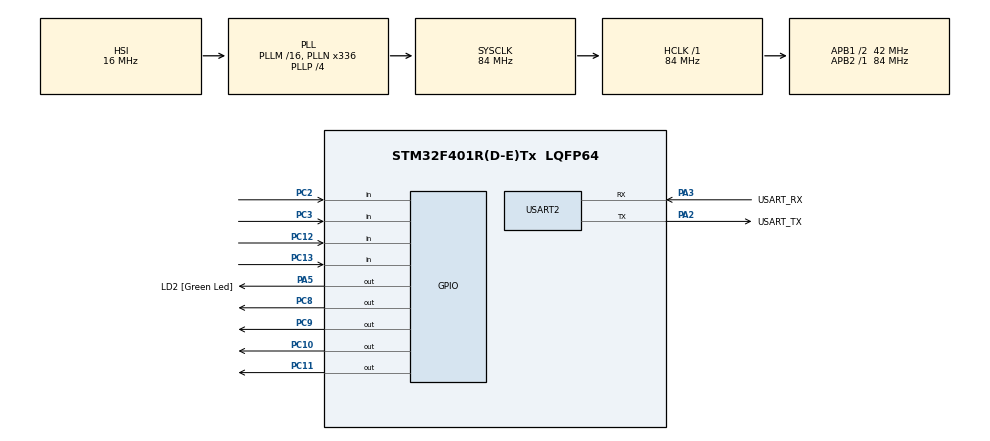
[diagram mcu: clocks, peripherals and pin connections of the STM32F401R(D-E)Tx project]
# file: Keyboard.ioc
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Dma.Request0=USART2_TX
Dma.USART2_TX.0.Direction=DMA_MEMORY_TO_PERIPH
Dma.USART2_TX.0.FIFOMode=DMA_FIFOMODE_DISABLE
Dma.USART2_TX.0.Instance=DMA1_Stream6
Dma.USART2_TX.0.MemDataAlignment=DMA_MDATAALIGN_BYTE
Dma.USART2_TX.0.MemInc=DMA_MINC_ENABLE
Dma.USART2_TX.0.Mode=DMA_NORMAL
Dma.USART2_TX.0.PeriphDataAlignment=DMA_PDATAALIGN_BYTE
Dma.USART2_TX.0.PeriphInc=DMA_PINC_DISABLE
Dma.USART2_TX.0.Priority=DMA_PRIORITY_LOW
Mcu.Family=STM32F4
Mcu.Name=STM32F401R(D-E)Tx
Mcu.Package=LQFP64
NVIC.DMA1_Stream6_IRQn=true\:0\:0\:false\:false\:true\:false\:true\:true
NVIC.PriorityGroup=NVIC_PRIORITYGROUP_0
NVIC.TIM2_IRQn=true\:0\:0\:false\:false\:true\:true\:true\:true
NVIC.TIM3_IRQn=true\:0\:0\:false\:false\:true\:true\:true\:true
NVIC.USART2_IRQn=true\:0\:0\:false\:false\:true\:true\:true\:true
PA13.GPIO_Label=TMS
PA13.Mode=Serial_Wire
PA13.Signal=SYS_JTMS-SWDIO
PA14.GPIO_Label=TCK
PA14.Mode=Serial_Wire
PA14.Signal=SYS_JTCK-SWCLK
PA2.GPIO_Label=USART_TX
PA2.GPIO_Mode=GPIO_MODE_AF_PP
PA2.GPIO_PuPd=GPIO_NOPULL
PA2.GPIO_Speed=GPIO_SPEED_FREQ_LOW
PA2.Mode=Asynchronous
PA2.Signal=USART2_TX
PA3.GPIO_Label=USART_RX
PA3.GPIO_Mode=GPIO_MODE_AF_PP
PA3.GPIO_PuPd=GPIO_NOPULL
PA3.GPIO_Speed=GPIO_SPEED_FREQ_LOW
PA3.Mode=Asynchronous
PA3.Signal=USART2_RX
PA5.GPIO_Label=LD2 [Green Led]
PA5.GPIO_Mode=GPIO_MODE_OUTPUT_PP
PA5.GPIO_PuPd=GPIO_NOPULL
PA5.GPIO_Speed=GPIO_SPEED_FREQ_LOW
PA5.Signal=GPIO_Output
PB3.GPIO_Label=SWO
PB3.Signal=SYS_JTDO-SWO
PC10.Signal=GPIO_Output
PC11.Signal=GPIO_Output
PC12.Signal=GPIO_Input
PC13-ANTI_TAMP.Signal=GPIO_Input
PC14-OSC32_IN.Mode=LSE-External-Oscillator
PC14-OSC32_IN.Signal=RCC_OSC32_IN
PC15-OSC32_OUT.Mode=LSE-External-Oscillator
PC15-OSC32_OUT.Signal=RCC_OSC32_OUT
PC2.Signal=GPIO_Input
PC3.Signal=GPIO_Input
PC8.Signal=GPIO_Output
PC9.Signal=GPIO_Output
PH0\ -\ OSC_IN.Mode=HSE-External-Clock-Source
PH0\ -\ OSC_IN.Signal=RCC_OSC_IN
PH1\ -\ OSC_OUT.Mode=HSE-External-Clock-Source
PH1\ -\ OSC_OUT.Signal=RCC_OSC_OUT
ProjectManager.HeapSize=0x200
ProjectManager.StackSize=0x400
ProjectManager.TargetToolchain=STM32CubeIDE
RCC.48MHZClocksFreq_Value=48000000
RCC.AHBFreq_Value=84000000
RCC.APB1CLKDivider=RCC_HCLK_DIV2
RCC.APB1Freq_Value=42000000
RCC.APB1TimFreq_Value=84000000
RCC.APB2Freq_Value=84000000
RCC.APB2TimFreq_Value=84000000
RCC.CortexFreq_Value=84000000
RCC.HCLKFreq_Value=84000000
RCC.HSE_VALUE=8000000
RCC.HSI_VALUE=16000000
RCC.PLLN=336
RCC.PLLP=RCC_PLLP_DIV4
RCC.PLLQ=7
RCC.SYSCLKFreq_VALUE=84000000
RCC.SYSCLKSource=RCC_SYSCLKSOURCE_PLLCLK
RCC.VCOOutputFreq_Value=336000000
TIM2.Period=(TEMPO*10)-1
TIM2.Prescaler=8400-1
TIM3.Period=(TEMPO2*10)-1
TIM3.Prescaler=8400-1
USART2.VirtualMode=VM_ASYNC
VP_TIM2_VS_ClockSourceINT.Mode=Internal
VP_TIM3_VS_ClockSourceINT.Mode=Internal
board=NUCLEO-F401RE

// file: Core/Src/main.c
/* USER CODE BEGIN Header */
/**
  ******************************************************************************
  * @file           : main.c
  * @brief          : Main program body
  ******************************************************************************
  * @attention
  *
  * Copyright (c) 2024 STMicroelectronics.
  * All rights reserved.
  *
  * This software is licensed under terms that can be found in the LICENSE file
  * in the root directory of this software component.
  * If no LICENSE file comes with this software, it is provided AS-IS.
  *
  ******************************************************************************
  */
/* USER CODE END Header */
#include "main.h"

/* USER CODE BEGIN PD */
#define TEMPO 4
#define TEMPO2 20

/* USER CODE END PD */

TIM_HandleTypeDef htim2;
TIM_HandleTypeDef htim3;

UART_HandleTypeDef huart2;
DMA_HandleTypeDef hdma_usart2_tx;

void SystemClock_Config(void);
static void MX_GPIO_Init(void);
static void MX_DMA_Init(void);
static void MX_USART2_UART_Init(void);
static void MX_TIM2_Init(void);
static void MX_TIM3_Init(void);
/* USER CODE BEGIN PFP */
typedef struct {
	GPIO_TypeDef *port;
	uint16_t pin;
} Pin_Struct;

const Pin_Struct ROWS[] = {
    {GPIOC, GPIO_PIN_3},  // R0
    {GPIOC, GPIO_PIN_2},  // R1
    {GPIOC, GPIO_PIN_13}, // R2
    {GPIOC, GPIO_PIN_12}  // R3
};

const Pin_Struct COLS[] = {
    {GPIOC, GPIO_PIN_11},  // C0
    {GPIOC, GPIO_PIN_10},  // C1
    {GPIOC, GPIO_PIN_9}, // C2
    {GPIOC, GPIO_PIN_8}  // C3
};

char buttons[16] = "FEDCBA9876543210"; // Keyboard chars to be indexed by 'c' and printed
int scan = 0; // Current scanning column (0 to 3)
int c = 0, c_old = -1; // New and previous indexes in 'buttons[]'
int pressed_flag = 0; // Whether a button has been pressed and not released yet
int row = 0, col = 0; // Row and Column to be scanned at debouncing timeout

char string[3]; // UART buffer
int string_length = 0; // UART buffer length
/* USER CODE END PFP */

/* USER CODE BEGIN 0 */

void HAL_TIM_PeriodElapsedCallback (TIM_HandleTypeDef *htim) {

	if (htim == &htim2) { // Timeout to scan next keyboard's column

		if (pressed_flag == 0) { // If no button has been presssed (and not released yet)

			for (int i = 0; i < 4; i++) { // Set the column indexed by 'scan' to 1, all others to 0
				if (i == scan) HAL_GPIO_WritePin(COLS[i].port, COLS[i].pin, GPIO_PIN_SET);
				else HAL_GPIO_WritePin(COLS[i].port, COLS[i].pin, GPIO_PIN_RESET);
			}

			for (int i = 0; i < 4; i++) { // Scan all four rows to check any button pressing
				if (HAL_GPIO_ReadPin(ROWS[i].port, ROWS[i].pin) == GPIO_PIN_RESET) { // RESET <-> button pressed
					pressed_flag = 1; // Block future columns' and rows' writes and reads
					row = i; // Save the index of the row to be scanned at debouncing timeout

					// We now manage the defect of the second row (shifted one column to the left)
					col = scan; // We want to replace 'scan' with 'col', which may be different in case row 2 is pressed
					if (i == 2) {
						col--; // Adjust the column to be scanned, decrementing by 1
						if (scan == 0) col = 3; // Extreme case in which 'col' would be -1
						HAL_GPIO_WritePin(COLS[scan].port, COLS[scan].pin, GPIO_PIN_RESET); // Turn off scan in 'COLS[scan]'
						HAL_GPIO_WritePin(COLS[col].port, COLS[col].pin, GPIO_PIN_SET); // Turn on scan in 'COLS[col]'
					}

					c = col + (4*i); // Expression to calculate the index in 'buttons[]'

					HAL_TIM_Base_Start_IT(&htim3); // Start the debouncing timer
				}
			}
		}

		scan++; // Increment scanning column
		if (scan == 4) scan = 0; // Reset 'scan' when reaching the last column
	}

	else if (htim == &htim3) { // Timeout to check persistence after debouncing
		if (HAL_GPIO_ReadPin(ROWS[row].port, ROWS[row].pin) == GPIO_PIN_RESET) { // Re-read the button pressing
			if (c != c_old) { // If new 'c' differs from old one, to avoid repetitions in printing
				string_length = snprintf(string, sizeof(string), "%c\n", buttons[c]); // Parse buffer for UART
				HAL_UART_Transmit_DMA(&huart2, (uint8_t*)string, string_length); // Send buffer via UART
				c_old = c; // Update old value of 'c'
			}
		}
		else { // Button released either before or after timeout
			HAL_TIM_Base_Stop_IT(&htim3); // Stop timeout callbacks
			c_old = -1; // Reset to a value which 'c' will never hold
			pressed_flag = 0; // Allow for future writes on columns, and reads on rows
		}
	}
}
/* USER CODE END 0 */

int main(void)
{

  /* MCU Configuration--------------------------------------------------------*/

  /* Reset of all peripherals, Initializes the Flash interface and the Systick. */
  HAL_Init();

  /* Configure the system clock */
  SystemClock_Config();

  /* Initialize all configured peripherals */
  MX_GPIO_Init();
  MX_DMA_Init();
  MX_USART2_UART_Init();
  MX_TIM2_Init();
  MX_TIM3_Init();
  /* USER CODE BEGIN 2 */
  HAL_TIM_Base_Start_IT(&htim2);
  /* USER CODE END 2 */

  /* Infinite loop */
  while (1)
  {

  }
}

void SystemClock_Config(void)
{
  RCC_OscInitTypeDef RCC_OscInitStruct = {0};
  RCC_ClkInitTypeDef RCC_ClkInitStruct = {0};

  /** Configure the main internal regulator output voltage
  */
  __HAL_RCC_PWR_CLK_ENABLE();
  __HAL_PWR_VOLTAGESCALING_CONFIG(PWR_REGULATOR_VOLTAGE_SCALE2);

  /** Initializes the RCC Oscillators according to the specified parameters
  * in the RCC_OscInitTypeDef structure.
  */
  RCC_OscInitStruct.OscillatorType = RCC_OSCILLATORTYPE_HSI;
  RCC_OscInitStruct.HSIState = RCC_HSI_ON;
  RCC_OscInitStruct.HSICalibrationValue = RCC_HSICALIBRATION_DEFAULT;
  RCC_OscInitStruct.PLL.PLLState = RCC_PLL_ON;
  RCC_OscInitStruct.PLL.PLLSource = RCC_PLLSOURCE_HSI;
  RCC_OscInitStruct.PLL.PLLM = 16;
  RCC_OscInitStruct.PLL.PLLN = 336;
  RCC_OscInitStruct.PLL.PLLP = RCC_PLLP_DIV4;
  RCC_OscInitStruct.PLL.PLLQ = 7;
  if (HAL_RCC_OscConfig(&RCC_OscInitStruct) != HAL_OK)
  {
    Error_Handler();
  }

  /** Initializes the CPU, AHB and APB buses clocks
  */
  RCC_ClkInitStruct.ClockType = RCC_CLOCKTYPE_HCLK|RCC_CLOCKTYPE_SYSCLK
                              |RCC_CLOCKTYPE_PCLK1|RCC_CLOCKTYPE_PCLK2;
  RCC_ClkInitStruct.SYSCLKSource = RCC_SYSCLKSOURCE_PLLCLK;
  RCC_ClkInitStruct.AHBCLKDivider = RCC_SYSCLK_DIV1;
  RCC_ClkInitStruct.APB1CLKDivider = RCC_HCLK_DIV2;
  RCC_ClkInitStruct.APB2CLKDivider = RCC_HCLK_DIV1;

  if (HAL_RCC_ClockConfig(&RCC_ClkInitStruct, FLASH_LATENCY_2) != HAL_OK)
  {
    Error_Handler();
  }
}

static void MX_TIM2_Init(void)
{

  TIM_ClockConfigTypeDef sClockSourceConfig = {0};
  TIM_MasterConfigTypeDef sMasterConfig = {0};

  htim2.Instance = TIM2;
  htim2.Init.Prescaler = 8400-1;
  htim2.Init.CounterMode = TIM_COUNTERMODE_UP;
  htim2.Init.Period = (TEMPO*10)-1;
  htim2.Init.ClockDivision = TIM_CLOCKDIVISION_DIV1;
  htim2.Init.AutoReloadPreload = TIM_AUTORELOAD_PRELOAD_DISABLE;
  if (HAL_TIM_Base_Init(&htim2) != HAL_OK)
  {
    Error_Handler();
  }
  sClockSourceConfig.ClockSource = TIM_CLOCKSOURCE_INTERNAL;
  if (HAL_TIM_ConfigClockSource(&htim2, &sClockSourceConfig) != HAL_OK)
  {
    Error_Handler();
  }
  sMasterConfig.MasterOutputTrigger = TIM_TRGO_RESET;
  sMasterConfig.MasterSlaveMode = TIM_MASTERSLAVEMODE_DISABLE;
  if (HAL_TIMEx_MasterConfigSynchronization(&htim2, &sMasterConfig) != HAL_OK)
  {
    Error_Handler();
  }

}

static void MX_TIM3_Init(void)
{

  TIM_ClockConfigTypeDef sClockSourceConfig = {0};
  TIM_MasterConfigTypeDef sMasterConfig = {0};

  htim3.Instance = TIM3;
  htim3.Init.Prescaler = 8400-1;
  htim3.Init.CounterMode = TIM_COUNTERMODE_UP;
  htim3.Init.Period = (TEMPO2*10)-1;
  htim3.Init.ClockDivision = TIM_CLOCKDIVISION_DIV1;
  htim3.Init.AutoReloadPreload = TIM_AUTORELOAD_PRELOAD_DISABLE;
  if (HAL_TIM_Base_Init(&htim3) != HAL_OK)
  {
    Error_Handler();
  }
  sClockSourceConfig.ClockSource = TIM_CLOCKSOURCE_INTERNAL;
  if (HAL_TIM_ConfigClockSource(&htim3, &sClockSourceConfig) != HAL_OK)
  {
    Error_Handler();
  }
  sMasterConfig.MasterOutputTrigger = TIM_TRGO_RESET;
  sMasterConfig.MasterSlaveMode = TIM_MASTERSLAVEMODE_DISABLE;
  if (HAL_TIMEx_MasterConfigSynchronization(&htim3, &sMasterConfig) != HAL_OK)
  {
    Error_Handler();
  }

}

static void MX_USART2_UART_Init(void)
{

  huart2.Instance = USART2;
  huart2.Init.BaudRate = 115200;
  huart2.Init.WordLength = UART_WORDLENGTH_8B;
  huart2.Init.StopBits = UART_STOPBITS_1;
  huart2.Init.Parity = UART_PARITY_NONE;
  huart2.Init.Mode = UART_MODE_TX_RX;
  huart2.Init.HwFlowCtl = UART_HWCONTROL_NONE;
  huart2.Init.OverSampling = UART_OVERSAMPLING_16;
  if (HAL_UART_Init(&huart2) != HAL_OK)
  {
    Error_Handler();
  }

}

static void MX_DMA_Init(void)
{

  /* DMA controller clock enable */
  __HAL_RCC_DMA1_CLK_ENABLE();

  /* DMA interrupt init */
  /* DMA1_Stream6_IRQn interrupt configuration */
  HAL_NVIC_SetPriority(DMA1_Stream6_IRQn, 0, 0);
  HAL_NVIC_EnableIRQ(DMA1_Stream6_IRQn);

}

static void MX_GPIO_Init(void)
{
  GPIO_InitTypeDef GPIO_InitStruct = {0};

  /* GPIO Ports Clock Enable */
  __HAL_RCC_GPIOC_CLK_ENABLE();
  __HAL_RCC_GPIOH_CLK_ENABLE();
  __HAL_RCC_GPIOA_CLK_ENABLE();
  __HAL_RCC_GPIOB_CLK_ENABLE();

  /*Configure GPIO pin Output Level */
  HAL_GPIO_WritePin(LD2_GPIO_Port, LD2_Pin, GPIO_PIN_RESET);

  /*Configure GPIO pin Output Level */
  HAL_GPIO_WritePin(GPIOC, GPIO_PIN_8|GPIO_PIN_9|GPIO_PIN_10|GPIO_PIN_11, GPIO_PIN_RESET);

  /*Configure GPIO pins : PC13 PC2 PC3 PC12 */
  GPIO_InitStruct.Pin = GPIO_PIN_13|GPIO_PIN_2|GPIO_PIN_3|GPIO_PIN_12;
  GPIO_InitStruct.Mode = GPIO_MODE_INPUT;
  GPIO_InitStruct.Pull = GPIO_NOPULL;
  HAL_GPIO_Init(GPIOC, &GPIO_InitStruct);

  /*Configure GPIO pin : LD2_Pin */
  GPIO_InitStruct.Pin = LD2_Pin;
  GPIO_InitStruct.Mode = GPIO_MODE_OUTPUT_PP;
  GPIO_InitStruct.Pull = GPIO_NOPULL;
  GPIO_InitStruct.Speed = GPIO_SPEED_FREQ_LOW;
  HAL_GPIO_Init(LD2_GPIO_Port, &GPIO_InitStruct);

  /*Configure GPIO pins : PC8 PC9 PC10 PC11 */
  GPIO_InitStruct.Pin = GPIO_PIN_8|GPIO_PIN_9|GPIO_PIN_10|GPIO_PIN_11;
  GPIO_InitStruct.Mode = GPIO_MODE_OUTPUT_PP;
  GPIO_InitStruct.Pull = GPIO_NOPULL;
  GPIO_InitStruct.Speed = GPIO_SPEED_FREQ_LOW;
  HAL_GPIO_Init(GPIOC, &GPIO_InitStruct);

}

void Error_Handler(void)
{
  __disable_irq();
  while (1)
  {
  }
}
